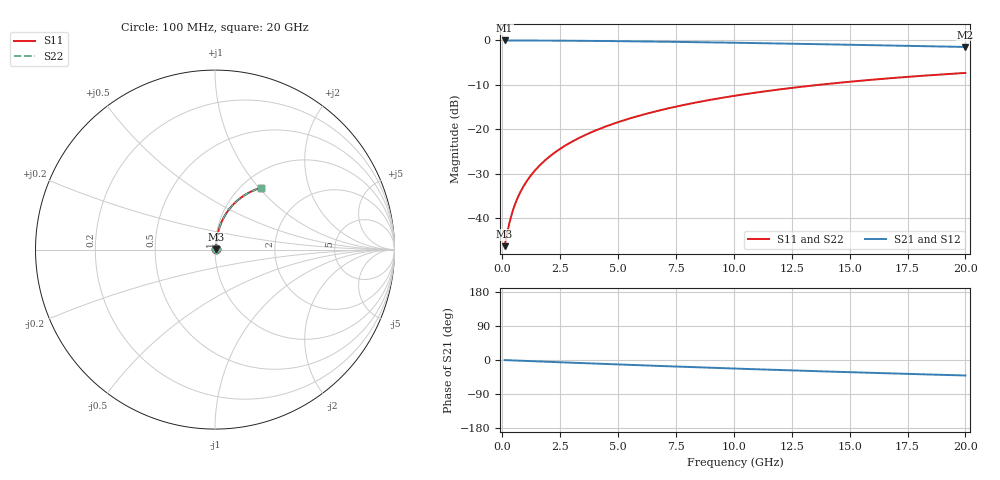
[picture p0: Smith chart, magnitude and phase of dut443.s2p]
! Touchstone file exported from HFSS 2024.1.0
!  File:  C:/UserFiles/LocalFiles/RDL_TSV_Batchsim/temp_RDL_bottom_443_1779684757.aedt
!  Generated:  12:55:24 PM May 25, 2026
!  Design:  RDL_bottom
!  Project:  temp_RDL_bottom_443_1779684757
!  Setup:  Setup1
!  Solution:  Sweep
! Variables:
!  dtsv = 10.80580581um
!  hbump = 3um
!  htsv = 97.17um
!  ldown = 538.42um
!  lrdl = 100um
!  p = 40
!  p1 = 47.79um
!  rhole = 1um
!  t = 450um
!  tdown = 3.08um
!  trdl = 3.915915916um
!  wdown = 15.4um
!  wrdl = 20um
# GHz S MA R 50.000000
! Terminal data exported
! Port[1] = RDL1_T1
! Port[2] = RDL1_T2
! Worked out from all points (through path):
!   200 points, 100 MHz to 20 GHz, reference 50 ohm
!   highest |S21| = -0.04 dB at 100 MHz (marker M1); lowest = -1.5 dB at 20 GHz (marker M2)
!   group delay of S21, straight-line fit = 5.67 ps
!   lowest |S11| = -46.2 dB at 100 MHz (marker M3), VSWR 1.01, Z = 50.4 + j0.257 ohm
!   |S11| at or under -10 dB: start of sweep to 13.68 GHz
!   |S22| runs from -46.2 to -7.3 dB; largest |S21 - S12| = 4.2e-15
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0.1  0.004877 31.5  0.9958 -0.2  0.9958 -0.2  0.004877 31.5
! Gamma 0 0 0 0
! Port Impedance 50 0 50 0
0.2  0.006615 50.0  0.9957 -0.5  0.9957 -0.5  0.006615 50.0
0.3  0.00873 59.8  0.9956 -0.7  0.9956 -0.7  0.00873 59.8
0.4  0.01097 65.5  0.9954 -1.0  0.9954 -1.0  0.01097 65.5
0.5  0.01326 69.2  0.9953 -1.2  0.9953 -1.2  0.01326 69.2
0.6  0.01557 71.8  0.9951 -1.5  0.9951 -1.5  0.01557 71.8
0.8  0.02021 75.1  0.9948 -1.9  0.9948 -1.9  0.02021 75.1
1.1  0.02722 77.9  0.9942 -2.7  0.9942 -2.7  0.02722 77.9
1.3  0.03193 79.0  0.9939 -3.1  0.9939 -3.1  0.03193 79.0
1.6  0.03903 80.0  0.9932 -3.8  0.9932 -3.8  0.03903 80.0
2.1  0.05092 80.9  0.9918 -5.0  0.9918 -5.0  0.05092 80.9
2.7  0.06525 81.0  0.9898 -6.4  0.9898 -6.4  0.06525 81.0
3.5  0.08443 80.7  0.9865 -8.3  0.9865 -8.3  0.08443 80.7
4.2  0.1012 80.0  0.9829 -9.9  0.9829 -9.9  0.1012 80.0
5  0.1204 79.0  0.9783 -11.7  0.9783 -11.7  0.1204 79.0
5.9  0.142 77.7  0.9724 -13.8  0.9724 -13.8  0.142 77.7
6.8  0.1634 76.3  0.9659 -15.7  0.9659 -15.7  0.1634 76.3
8.4  0.201 73.6  0.9531 -19.2  0.9531 -19.2  0.2009 73.6
10.1  0.2398 70.5  0.9383 -22.7  0.9383 -22.7  0.2397 70.5
13.4  0.3106 64.6  0.9071 -29.2  0.9071 -29.2  0.3106 64.6
16.7  0.3742 58.7  0.8745 -35.2  0.8745 -35.2  0.3742 58.8
20  0.4299 53.2  0.8417 -40.9  0.8417 -40.9  0.4299 53.2
